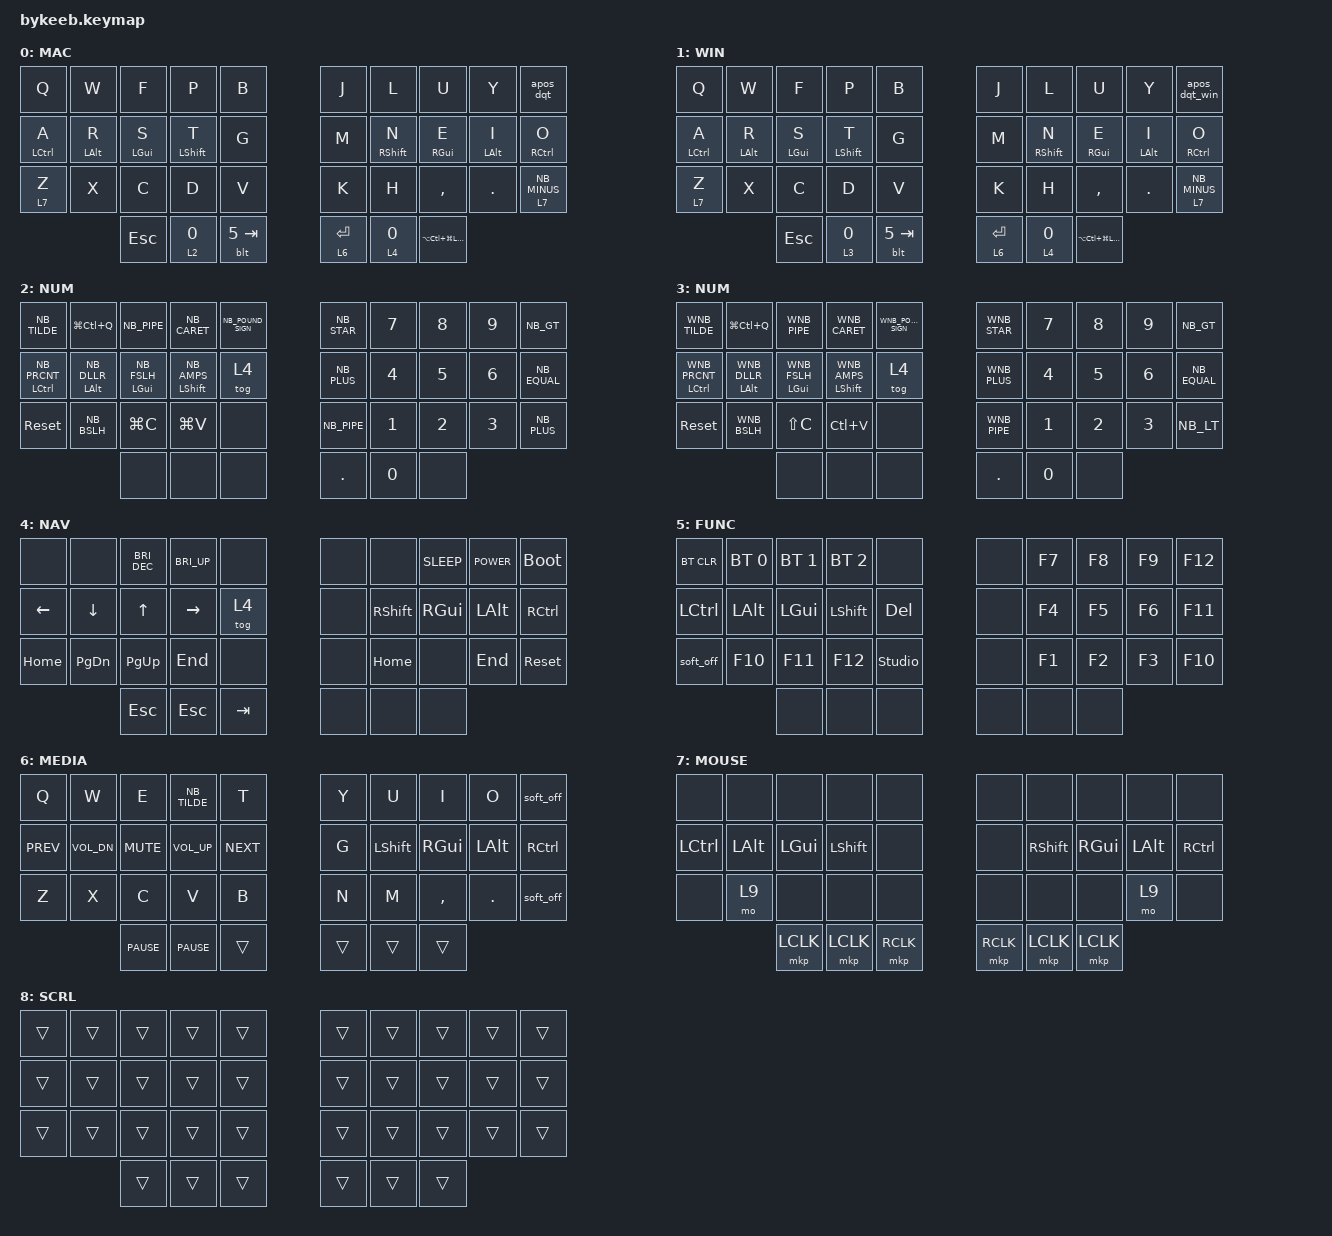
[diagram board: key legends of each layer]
#include "keys_nb_osx.h"
#include "keys_nb_win.h"
#include <behaviors.dtsi>
#include <dt-bindings/zmk/bt.h>
#include <dt-bindings/zmk/keys.h>
#include <dt-bindings/zmk/pointing.h>
#include "combos.dtsi"
#include "behaviours.dtsi"
#include "common.dtsi"

/ {
    keymap {
        compatible = "zmk,keymap";

        // ╔═══════════════════════════════════════════════════════════════════════════╗
        // ║                         DEFAULT LAYER (Mac)                               ║
        // ║  Colemak-DH base layout with home row mods                                ║
        // ╚═══════════════════════════════════════════════════════════════════════════╝
        default {
            bindings = <
        // ╭─────────────┬─────────────┬─────────────┬─────────────┬─────────────╮   ╭─────────────┬─────────────┬─────────────┬─────────────┬─────────────╮
             &kp Q         &kp W         &kp F         &kp P         &kp B             &kp J         &kp L         &kp U         &kp Y         &apos_dqt
        // ├─────────────┼─────────────┼─────────────┼─────────────┼─────────────┤   ├─────────────┼─────────────┼─────────────┼─────────────┼─────────────┤
             &hml LCTRL A  &hml LALT R   &hml LGUI S   &hml LSHFT T  &kp G             &kp M         &hmr RSHFT N  &hmr RGUI E   &hmr LALT I   &hmr RCTRL O
        // ├─────────────┼─────────────┼─────────────┼─────────────┼─────────────┤   ├─────────────┼─────────────┼─────────────┼─────────────┼─────────────┤
             &lt 7 Z       &kp X         &kp C         &kp D         &kp V             &kp K         &kp H         &kp COMMA     &kp DOT       &lt 7 NB_MINUS
        // ╰─────────────┴─────────────┴─────────────┼─────────────┼─────────────┼─────────────┐   ┌─────────────┼─────────────┼─────────────┴─────────────┴─────────────╯
                                                       &kp ESC       &lt_spcesc 2 0 &blt 5 TAB       &lt 6 ENTER   &lt_bspc 4 0  &kp LA(LC(LG(LSHFT)))
        //                                           ╰─────────────┴─────────────┴─────────────╯   ╰─────────────┴─────────────┴─────────────╯
            >;

            display-name = "MAC";
        };

        // ╔═══════════════════════════════════════════════════════════════════════════╗
        // ║                       WINDOWS LAYER                                       ║
        // ║  Same as Mac but uses Windows-specific quote behavior                     ║
        // ╚═══════════════════════════════════════════════════════════════════════════╝
        win {
            bindings = <
        // ╭─────────────┬─────────────┬─────────────┬─────────────┬─────────────╮   ╭─────────────┬─────────────┬─────────────┬─────────────┬─────────────╮
             &kp Q         &kp W         &kp F         &kp P         &kp B             &kp J         &kp L         &kp U         &kp Y         &apos_dqt_win
        // ├─────────────┼─────────────┼─────────────┼─────────────┼─────────────┤   ├─────────────┼─────────────┼─────────────┼─────────────┼─────────────┤
             &hml LCTRL A  &hml LALT R   &hml LGUI S   &hml LSHFT T  &kp G             &kp M         &hmr RSHFT N  &hmr RGUI E   &hmr LALT I   &hmr RCTRL O
        // ├─────────────┼─────────────┼─────────────┼─────────────┼─────────────┤   ├─────────────┼─────────────┼─────────────┼─────────────┼─────────────┤
             &lt 7 Z       &kp X         &kp C         &kp D         &kp V             &kp K         &kp H         &kp COMMA     &kp DOT       &lt 7 NB_MINUS
        // ╰─────────────┴─────────────┴─────────────┼─────────────┼─────────────┼─────────────┐   ┌─────────────┼─────────────┼─────────────┴─────────────┴─────────────╯
                                                       &kp ESC       &lt_spcesc 3 0 &blt 5 TAB       &lt 6 ENTER   &lt_bspc 4 0  &kp LA(LC(LG(LSHFT)))
        //                                           ╰─────────────┴─────────────┴─────────────╯   ╰─────────────┴─────────────┴─────────────╯
            >;

            display-name = "WIN";
        };

        // ╔═══════════════════════════════════════════════════════════════════════════╗
        // ║                         NUMBERS LAYER (Mac)                               ║
        // ║  Number pad on right, symbols on left                                     ║
        // ╚═══════════════════════════════════════════════════════════════════════════╝
        numbers {
            bindings = <
        // ╭─────────────┬─────────────┬─────────────┬─────────────┬─────────────╮   ╭─────────────┬─────────────┬─────────────┬─────────────┬─────────────╮
             &kp NB_TILDE  &kp LG(LC(Q)) &kp NB_PIPE   &kp NB_CARET  &kp NB_POUND_SIGN &kp NB_STAR   &kp N7        &kp N8        &kp N9        &kp NB_GT
        // ├─────────────┼─────────────┼─────────────┼─────────────┼─────────────┤   ├─────────────┼─────────────┼─────────────┼─────────────┼─────────────┤
             &hml LCTRL NB_PRCNT &hml LALT NB_DLLR &hml LGUI NB_FSLH &hml LSHFT NB_AMPS &tog 4   &kp NB_PLUS   &kp N4        &kp N5        &kp N6        &kp NB_EQUAL
        // ├─────────────┼─────────────┼─────────────┼─────────────┼─────────────┤   ├─────────────┼─────────────┼─────────────┼─────────────┼─────────────┤
             &sys_reset    &kp NB_BSLH   &kp LG(C)     &kp LG(V)     &none             &kp NB_PIPE   &kp N1        &kp N2        &kp N3        &kp NB_PLUS
        // ╰─────────────┴─────────────┴─────────────┼─────────────┼─────────────┼─────────────┐   ┌─────────────┼─────────────┼─────────────┴─────────────┴─────────────╯
                                                       &none         &none         &none             &kp DOT       &kp N0        &none
        //                                           ╰─────────────┴─────────────┴─────────────╯   ╰─────────────┴─────────────┴─────────────╯
            >;

            display-name = "NUM";
        };

        // ╔═══════════════════════════════════════════════════════════════════════════╗
        // ║                      NUMBERS LAYER (Windows)                              ║
        // ║  Number pad on right, symbols on left (Windows keycodes)                  ║
        // ╚═══════════════════════════════════════════════════════════════════════════╝
        num_win {
            bindings = <
        // ╭─────────────┬─────────────┬─────────────┬─────────────┬─────────────╮   ╭─────────────┬─────────────┬─────────────┬─────────────┬─────────────╮
             &kp WNB_TILDE &kp LG(LC(Q)) &kp WNB_PIPE  &kp WNB_CARET &kp WNB_POUND_SIGN &kp WNB_STAR  &kp N7        &kp N8        &kp N9        &kp NB_GT
        // ├─────────────┼─────────────┼─────────────┼─────────────┼─────────────┤   ├─────────────┼─────────────┼─────────────┼─────────────┼─────────────┤
             &hml LCTRL WNB_PRCNT &hml LALT WNB_DLLR &hml LGUI WNB_FSLH &hml LSHFT WNB_AMPS &tog 4  &kp WNB_PLUS  &kp N4        &kp N5        &kp N6        &kp NB_EQUAL
        // ├─────────────┼─────────────┼─────────────┼─────────────┼─────────────┤   ├─────────────┼─────────────┼─────────────┼─────────────┼─────────────┤
             &sys_reset    &kp WNB_BSLH  &kp LS(C)     &kp LC(V)     &none             &kp WNB_PIPE  &kp N1        &kp N2        &kp N3        &kp NB_LT
        // ╰─────────────┴─────────────┴─────────────┼─────────────┼─────────────┼─────────────┐   ┌─────────────┼─────────────┼─────────────┴─────────────┴─────────────╯
                                                       &none         &none         &none             &kp DOT       &kp N0        &none
        //                                           ╰─────────────┴─────────────┴─────────────╯   ╰─────────────┴─────────────┴─────────────╯
            >;

            display-name = "NUM";
        };

        // ╔═══════════════════════════════════════════════════════════════════════════╗
        // ║                         NAVIGATION LAYER                                  ║
        // ║  Arrow keys, page navigation, brightness, power controls                  ║
        // ╚═══════════════════════════════════════════════════════════════════════════╝
        nav {
            bindings = <
        // ╭─────────────┬─────────────┬─────────────┬─────────────┬─────────────╮   ╭─────────────┬─────────────┬─────────────┬─────────────┬─────────────╮
             &none         &none         &kp C_BRI_DEC &kp C_BRI_UP  &none             &none         &none         &kp C_SLEEP   &kp C_POWER   &bootloader
        // ├─────────────┼─────────────┼─────────────┼─────────────┼─────────────┤   ├─────────────┼─────────────┼─────────────┼─────────────┼─────────────┤
             &kp LEFT      &kp DOWN      &kp UP        &kp RIGHT     &tog 4            &none         &kp RSHFT     &kp RGUI      &kp LALT      &kp RCTRL
        // ├─────────────┼─────────────┼─────────────┼─────────────┼─────────────┤   ├─────────────┼─────────────┼─────────────┼─────────────┼─────────────┤
             &kp HOME      &kp PG_DN     &kp PG_UP     &kp END       &none             &none         &kp HOME      &none         &kp END       &sys_reset
        // ╰─────────────┴─────────────┴─────────────┼─────────────┼─────────────┼─────────────┐   ┌─────────────┼─────────────┼─────────────┴─────────────┴─────────────╯
                                                       &kp ESC       &kp ESC       &kp TAB           &none         &none         &none
        //                                           ╰─────────────┴─────────────┴─────────────╯   ╰─────────────┴─────────────┴─────────────╯
            >;

            display-name = "NAV";
        };

        // ╔═══════════════════════════════════════════════════════════════════════════╗
        // ║                        FUNCTION KEYS LAYER                                ║
        // ║  Function keys (F1-F12) and Bluetooth controls                            ║
        // ╚═══════════════════════════════════════════════════════════════════════════╝
        fn {
            bindings = <
        // ╭─────────────┬─────────────┬─────────────┬─────────────┬─────────────╮   ╭─────────────┬─────────────┬─────────────┬─────────────┬─────────────╮
             &bt BT_CLR    &bt BT_SEL 0  &bt BT_SEL 1  &bt BT_SEL 2  &none             &none         &kp F7        &kp F8        &kp F9        &kp F12
        // ├─────────────┼─────────────┼─────────────┼─────────────┼─────────────┤   ├─────────────┼─────────────┼─────────────┼─────────────┼─────────────┤
             &kp LCTRL     &kp LALT      &kp LGUI      &kp LSHIFT    &kp DEL           &none         &kp F4        &kp F5        &kp F6        &kp F11
        // ├─────────────┼─────────────┼─────────────┼─────────────┼─────────────┤   ├─────────────┼─────────────┼─────────────┼─────────────┼─────────────┤
             &soft_off     &kp F10       &kp F11       &kp F12       &studio_unlock    &none         &kp F1        &kp F2        &kp F3        &kp F10
        // ╰─────────────┴─────────────┴─────────────┼─────────────┼─────────────┼─────────────┐   ┌─────────────┼─────────────┼─────────────┴─────────────┴─────────────╯
                                                       &none         &none         &none             &none         &none         &none
        //                                           ╰─────────────┴─────────────┴─────────────╯   ╰─────────────┴─────────────┴─────────────╯
            >;

            display-name = "FUNC";
        };

        // ╔═══════════════════════════════════════════════════════════════════════════╗
        // ║                          MEDIA LAYER                                      ║
        // ║  Media playback controls and volume                                       ║
        // ╚═══════════════════════════════════════════════════════════════════════════╝
        controls {
            bindings = <
        // ╭─────────────┬─────────────┬─────────────┬─────────────┬─────────────╮   ╭─────────────┬─────────────┬─────────────┬─────────────┬─────────────╮
             &kp Q         &kp W         &kp E         &kp NB_TILDE  &kp T             &kp Y         &kp U         &kp I         &kp O         &soft_off
        // ├─────────────┼─────────────┼─────────────┼─────────────┼─────────────┤   ├─────────────┼─────────────┼─────────────┼─────────────┼─────────────┤
             &kp C_PREV    &kp C_VOL_DN  &kp C_MUTE    &kp C_VOL_UP  &kp C_NEXT        &kp G         &kp LSHFT     &kp RGUI      &kp LALT      &kp RCTRL
        // ├─────────────┼─────────────┼─────────────┼─────────────┼─────────────┤   ├─────────────┼─────────────┼─────────────┼─────────────┼─────────────┤
             &kp Z         &kp X         &kp C         &kp V         &kp B             &kp N         &kp M         &kp COMMA     &kp DOT       &soft_off
        // ╰─────────────┴─────────────┴─────────────┼─────────────┼─────────────┼─────────────┐   ┌─────────────┼─────────────┼─────────────┴─────────────┴─────────────╯
                                                       &kp C_PAUSE   &kp C_PAUSE   &trans            &trans        &trans        &trans
        //                                           ╰─────────────┴─────────────┴─────────────╯   ╰─────────────┴─────────────┴─────────────╯
            >;

            display-name = "MEDIA";
        };

        // ╔═══════════════════════════════════════════════════════════════════════════╗
        // ║                          MOUSE LAYER                                      ║
        // ║  Mouse button controls (use trackball for movement)                       ║
        // ╚═══════════════════════════════════════════════════════════════════════════╝
        mouse {
            bindings = <
        // ╭─────────────┬─────────────┬─────────────┬─────────────┬─────────────╮   ╭─────────────┬─────────────┬─────────────┬─────────────┬─────────────╮
             &none         &none         &none         &none         &none             &none         &none         &none         &none         &none
        // ├─────────────┼─────────────┼─────────────┼─────────────┼─────────────┤   ├─────────────┼─────────────┼─────────────┼─────────────┼─────────────┤
             &kp LCTRL     &kp LALT      &kp LGUI      &kp LSHIFT    &none             &none         &kp RSHFT     &kp RGUI      &kp LALT      &kp RCTRL
        // ├─────────────┼─────────────┼─────────────┼─────────────┼─────────────┤   ├─────────────┼─────────────┼─────────────┼─────────────┼─────────────┤
             &none         &mo 9         &none         &none         &none             &none         &none         &none         &mo 9         &none
        // ╰─────────────┴─────────────┴─────────────┼─────────────┼─────────────┼─────────────┐   ┌─────────────┼─────────────┼─────────────┴─────────────┴─────────────╯
                                                       &mkp LCLK     &mkp LCLK     &mkp RCLK         &mkp RCLK     &mkp LCLK     &mkp LCLK
        //                                           ╰─────────────┴─────────────┴─────────────╯   ╰─────────────┴─────────────┴─────────────╯
            >;

            display-name = "MOUSE";
        };

        // ╔═══════════════════════════════════════════════════════════════════════════╗
        // ║                         SCROLL LAYER                                      ║
        // ║  Scroll mode for trackball (all keys transparent)                         ║
        // ╚═══════════════════════════════════════════════════════════════════════════╝
        scrolly_moly {
            bindings = <
        // ╭─────────────┬─────────────┬─────────────┬─────────────┬─────────────╮   ╭─────────────┬─────────────┬─────────────┬─────────────┬─────────────╮
             &trans        &trans        &trans        &trans        &trans            &trans        &trans        &trans        &trans        &trans
        // ├─────────────┼─────────────┼─────────────┼─────────────┼─────────────┤   ├─────────────┼─────────────┼─────────────┼─────────────┼─────────────┤
             &trans        &trans        &trans        &trans        &trans            &trans        &trans        &trans        &trans        &trans
        // ├─────────────┼─────────────┼─────────────┼─────────────┼─────────────┤   ├─────────────┼─────────────┼─────────────┼─────────────┼─────────────┤
             &trans        &trans        &trans        &trans        &trans            &trans        &trans        &trans        &trans        &trans
        // ╰─────────────┴─────────────┴─────────────┼─────────────┼─────────────┼─────────────┐   ┌─────────────┼─────────────┼─────────────┴─────────────┴─────────────╯
                                                       &trans        &trans        &trans            &trans        &trans        &trans
        //                                           ╰─────────────┴─────────────┴─────────────╯   ╰─────────────┴─────────────┴─────────────╯
            >;

            display-name = "SCRL";
        };
    };
};
